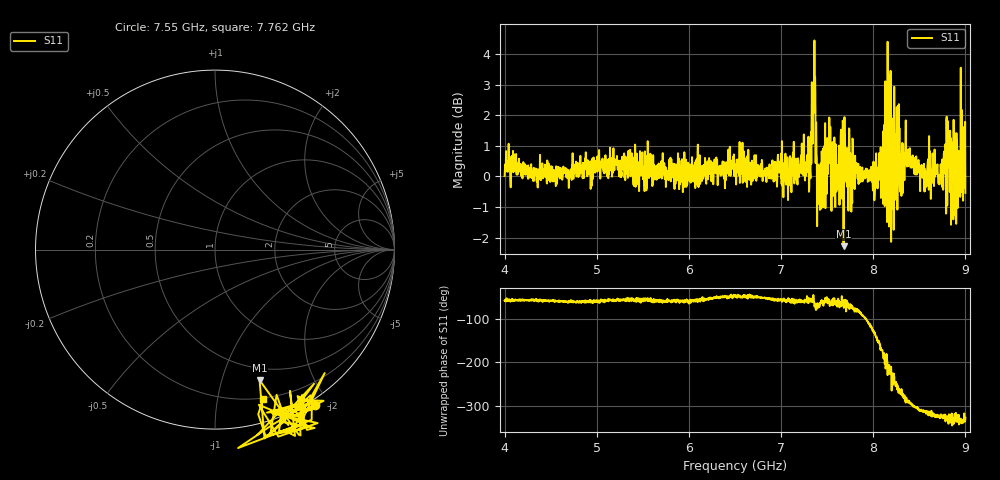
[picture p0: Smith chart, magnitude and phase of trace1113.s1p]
! Created with skrf 1.8.0 (http://scikit-rf.org).
# Hz S RI R 50.0
!freq ReS11 ImS11
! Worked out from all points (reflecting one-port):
!   1601 points, 4 GHz to 9 GHz, reference 50 ohm
!   lowest |S11| = -2.3 dB at 7.678 GHz (marker M1), VSWR 7.65, Z = 18.7 - j66.5 ohm
!   phase of S11 starts at -59 deg and turns -268 deg over the sweep
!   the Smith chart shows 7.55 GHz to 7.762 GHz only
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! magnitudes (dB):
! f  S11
! 4 GHz  0.0
! 4.625 GHz  -0.1
! 5.25 GHz  0.0
! 5.875 GHz  0.4
! 6.5 GHz  0.4
! 7.125 GHz  0.2
! 7.294 GHz  0.4
! 7.356 GHz  3.0
! 7.412 GHz  0.4
! 7.509 GHz  0.1
! 7.562 GHz  0.2
! 7.678 GHz  -2.3
! 7.75 GHz  0.6
! 8.034 GHz  -0.2
! 8.128 GHz  1.0
! 8.134 GHz  -0.9
! 8.162 GHz  1.3
! 8.216 GHz  0.0
! 8.253 GHz  1.2
! 8.312 GHz  1.1
! 8.375 GHz  0.6
! 8.553 GHz  0.1
! 8.597 GHz  0.6
! 8.734 GHz  0.4
! 8.809 GHz  1.8
! 8.875 GHz  0.5
! 8.972 GHz  0.4
! 9 GHz  -0.5
